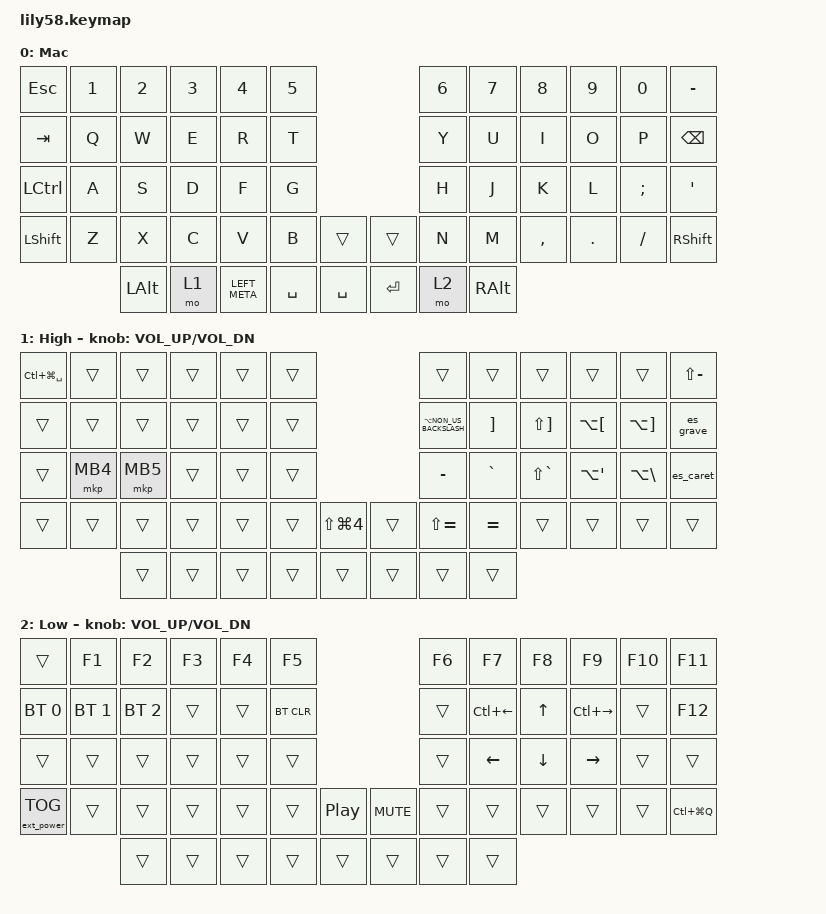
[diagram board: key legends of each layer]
/*
 * Copyright (c) 2020 The ZMK Contributors
 *
 * SPDX-License-Identifier: MIT
 */

#include <behaviors.dtsi>
#include <dt-bindings/zmk/bt.h>
#include <dt-bindings/zmk/ext_power.h>
#include <dt-bindings/zmk/keys.h>
#include <dt-bindings/zmk/pointing.h>

/*
 * Todo el keymap asume macOS con la distribución "Española — ISO".
 * Ñ, ´¨, coma/punto/guión con sus Shift y ¡¿ son nativos de esa distribución;
 * los símbolos de programación del layer HIGH se generan con los combos
 * Shift/Option propios del teclado español de Mac.
 *
 * OJO: macOS intercambia los scancodes GRAVE y NON_US_BACKSLASH en teclados
 * ISO. Por eso aquí <, > se envían con GRAVE / LS(GRAVE), y º, ª, \ con
 * NON_US_BACKSLASH. No revertir: enviar NON_US_BACKSLASH para < da "º".
 */

/ {
    macros {
        windows: Windows {
            compatible = "zmk,behavior-macro";
            #binding-cells = <0>;
            bindings = <&to 0 &bt BT_SEL 0>;
            label = "WINDOWS";
        };

        mac: mac {
            compatible = "zmk,behavior-macro";
            #binding-cells = <0>;
            bindings = <&to 0 &bt BT_SEL 1>;
            label = "MAC";
        };

        // En ES-ISO ` y ^ son teclas muertas: se componen con espacio
        // para obtener el carácter suelto.

        es_grave: es_grave {
            compatible = "zmk,behavior-macro";
            #binding-cells = <0>;
            bindings = <&kp LBKT &kp SPACE>;
        };

        es_caret: es_caret {
            compatible = "zmk,behavior-macro";
            #binding-cells = <0>;
            bindings = <&kp LS(LBKT) &kp SPACE>;
        };
    };

    keymap {
        compatible = "zmk,keymap";

        Mac {
            /* MAC (base)
             * ,-----------------------------------------.                    ,-----------------------------------------.
             * | ESC  |  1   |  2   |  3   |  4   |  5   |                    |  6   |  7   |  8   |  9   |  0   | ' ?  |
             * |------+------+------+------+------+------|                    |------+------+------+------+------+------|
             * | Tab  |  Q   |  W   |  E   |  R   |  T   |                    |  Y   |  U   |  I   |  O   |  P   |BkSp  |
             * |------+------+------+------+------+------|                    |------+------+------+------+------+------|
             * | Ctrl |  A   |  S   |  D   |  F   |  G   |-------.    ,-------|  H   |  J   |  K   |  L   |  Ñ   | ´ ¨  |
             * |------+------+------+------+------+------|       |    |       |------+------+------+------+------+------|
             * |Shift |  Z   |  X   |  C   |  V   |  B   |-------|    |-------|  N   |  M   | , ;  | . :  | - _  |Shift |
             * `-----------------------------------------/       /     \      \-----------------------------------------'
             *                   | LAlt | HIGH | LCmd | /Space  /       \Space \  |Enter | LOW  | RAlt |
             *                   |      |      |      |/       /         \      \ |      |      |      |
             *                   `----------------------------'           '------''--------------------'
             *
             * Con macOS en "Española — ISO" todo esto es nativo:
             *   Ñ escribe ñ/Ñ  ·  ´¨ es tecla muerta de acento (Shift: diéresis)
             *   , . - con Shift dan ; : _
             *   Shift+números da los símbolos españoles (! " · $ % & / ( ) =)
             *   ' suelto y ? con Shift (tecla MINUS nativa de ES-ISO)
             */

            bindings = <
&kp ESCAPE        &kp N1       &kp N2       &kp N3       &kp N4       &kp N5                             &kp N6       &kp N7       &kp N8       &kp N9       &kp N0       &kp MINUS
&kp TAB           &kp Q        &kp W        &kp E        &kp R        &kp T                              &kp Y        &kp U        &kp I        &kp O        &kp P        &kp BACKSPACE
&kp LEFT_CONTROL  &kp A        &kp S        &kp D        &kp F        &kp G                              &kp H        &kp J        &kp K        &kp L        &kp SEMI     &kp SQT
&kp LEFT_SHIFT    &kp Z        &kp X        &kp C        &kp V        &kp B        &trans      &trans    &kp N        &kp M        &kp COMMA    &kp DOT      &kp FSLH     &kp RIGHT_SHIFT
                                  &kp LEFT_ALT  &mo 1   &kp LEFT_META  &kp SPACE    &kp SPACE  &kp ENTER  &mo 2   &kp RIGHT_ALT
            >;

            label = "Mac";
        };

        High {
            /* HIGH (símbolos de programación) — se activa manteniendo la tecla HIGH
             * ,-----------------------------------------.                    ,-----------------------------------------.
             * |Emoji |      |      |      |      |      |                    |      |      |      |      |      |  ?   |
             * |------+------+------+------+------+------|                    |------+------+------+------+------+------|
             * |      |      |      |      |      |      |                    |  \   |  +   |  *   |  [   |  ]   |  `   |
             * |------+------+------+------+------+------|                    |------+------+------+------+------+------|
             * |      | 🖱◀  | 🖱▶  |      |      |      |-------.    ,-------|  '   |  <   |  >   |  {   |  }   |  ^   |
             * |------+------+------+------+------+------|Captura|    |       |------+------+------+------+------+------|
             * |      |      |      |      |      |      |-------|    |-------|  ¿   |  ¡   |      |      |      |      |
             * `-----------------------------------------/       /     \      \-----------------------------------------'
             *                   |      |      |      | /       /       \      \  |      |      |      |
             *                   |      |      |      |/       /         \      \ |      |      |      |
             *                   `----------------------------'           '------''--------------------'
             *
             * Símbolos concentrados en la mano derecha; en la izquierda, A/S son
             * atrás/adelante enviando los botones 4/5 del mouse (&mkp MB4/MB5),
             * el mismo HID "back"/"forward" de los botones laterales de un mouse
             * Logitech MX — no dependen de la distribución ni de atajos por app.
             * Requiere CONFIG_ZMK_POINTING=y en lily58.conf. El resto de teclas
             * envía su combo nativo de "Española — ISO", así que macOS debe
             * estar en esa distribución.
             * Emoji abre el selector de emojis de macOS (Ctrl+Cmd+Espacio).
             * Captura (tecla interior izquierda) es ⇧⌘4: captura de pantalla.
             */

            bindings = <
&kp LC(LG(SPACE))  &trans  &trans  &trans  &trans  &trans                                  &trans                    &trans     &trans         &trans        &trans        &kp LS(MINUS)
&trans             &trans  &trans  &trans  &trans  &trans                                  &kp LA(NON_US_BACKSLASH)  &kp RBKT   &kp LS(RBKT)   &kp LA(LBKT)  &kp LA(RBKT)  &es_grave
&trans             &mkp MB4  &mkp MB5  &trans  &trans  &trans                            &kp MINUS                 &kp GRAVE  &kp LS(GRAVE)  &kp LA(SQT)   &kp LA(BSLH)  &es_caret
&trans             &trans  &trans  &trans  &trans  &trans  &kp LS(LG(NUMBER_4))    &trans  &kp LS(EQUAL)             &kp EQUAL  &trans         &trans        &trans        &trans
                                   &trans  &trans  &trans  &trans                  &trans  &trans                    &trans     &trans
            >;

            sensor-bindings = <&inc_dec_kp C_VOL_UP C_VOL_DN>;
            label = "High";
        };

        Low {
            /* LOW (funciones, Bluetooth, flechas y escritorios) — se activa manteniendo la tecla LOW
             * ,-----------------------------------------.                    ,-----------------------------------------.
             * |      |  F1  |  F2  |  F3  |  F4  |  F5  |                    |  F6  |  F7  |  F8  |  F9  | F10  | F11  |
             * |------+------+------+------+------+------|                    |------+------+------+------+------+------|
             * | BT 1 | BT 2 | BT 3 |      |      |BT CLR|                    |      | ⌃ <- |  ^   | ⌃ -> |      | F12  |
             * |------+------+------+------+------+------|                    |------+------+------+------+------+------|
             * |      |      |      |      |      |      |-------.    ,-------|      |  <-  |  v   |  ->  |      |      |
             * |------+------+------+------+------+------| Play  |    | Mute  |------+------+------+------+------+------|
             * |EP TOG|      |      |      |      |      |-------|    |-------|      |      |      |      |      |LOCK  |
             * `-----------------------------------------/       /     \      \-----------------------------------------'
             *                   |      |      |      | /       /       \      \  |      |      |      |
             *                   |      |      |      |/       /         \      \ |      |      |      |
             *                   `----------------------------'           '------''--------------------'
             *
             * BT 1-3 cambia de perfil Bluetooth (1=Windows, 2=Mac) y BT CLR borra el emparejamiento del perfil activo.
             * ⌃← / ⌃→ (arriba de las flechas ← / →) cambian de escritorio en macOS.
             * EP TOG enciende/apaga las pantallas nice!view. LOCK (⌃⌘Q) bloquea la pantalla de macOS.
             * Las dos teclas interiores (sobre los pulgares): ⏯ play/pausa (izq) y 🔇 mute (der).
             */

            bindings = <
&trans             &kp F1        &kp F2        &kp F3        &kp F4        &kp F5                            &kp F6         &kp F7         &kp F8         &kp F9         &kp F10        &kp F11
&bt BT_SEL 0       &bt BT_SEL 1  &bt BT_SEL 2  &trans        &trans        &bt BT_CLR                        &trans         &kp LC(LEFT)   &kp UP_ARROW   &kp LC(RIGHT)  &trans         &kp F12
&trans             &trans        &trans        &trans        &trans        &trans                            &trans         &kp LEFT_ARROW &kp DOWN       &kp RIGHT      &trans         &trans
&ext_power EP_TOG  &trans        &trans        &trans        &trans        &trans        &kp C_PLAY_PAUSE      &kp C_MUTE  &trans         &trans         &trans         &trans         &trans         &kp LC(LG(Q))
                                               &trans  &trans  &trans      &trans    &trans  &trans  &trans          &trans
            >;

            sensor-bindings = <&inc_dec_kp C_VOL_UP C_VOL_DN>;
            label = "Low";
        };
    };
};
